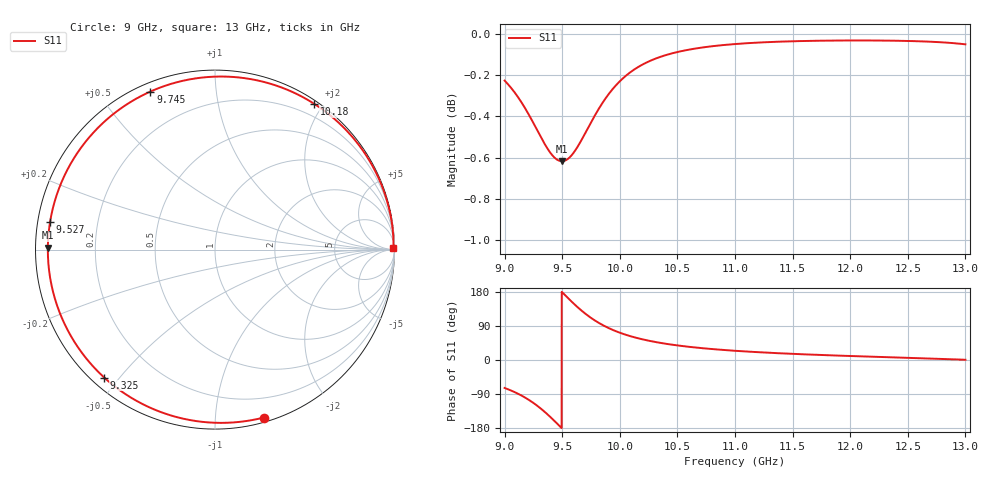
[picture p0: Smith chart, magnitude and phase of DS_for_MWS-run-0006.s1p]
! TOUCHSTONE file generated by CST DESIGN STUDIO
! Date and time: Tue Feb  4 13:27:55 2025
! Project name: C:\Work\MatlabApps\UnitCellOptimizationMatlab\CST\unitcell.cst
! Tree item: Tasks\Sweep1\SPara1\S-Parameters
! Header version: 2024
! Port assignment regex: !\s*Touchstone port\s*([0-9]+)\s*=\s*(CST MWS port|CST DES external port|CST DES block port)\s*(.+)\s* \(\"(.*)\"\)(\s*mode\s*([0-9]+))?.*
! Touchstone port assignment:
! Touchstone port 1 = CST DES external port 1 ("")
# GHz S MA R 50
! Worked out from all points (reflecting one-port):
!   4001 points, 9 GHz to 13 GHz, reference 50 ohm
!   lowest |S11| = -0.6 dB at 9.498 GHz (marker M1), VSWR 28.14, Z = 1.78 + j0.295 ohm
!   phase of S11 starts at -74 deg and turns -286 deg over the sweep
!   S11 on the Smith chart (normalised r, x): 9 GHz: 0.04, -1.33; 9.325 GHz: 0.04, -0.46; 9.527 GHz: 0.04, +0.08; 9.745 GHz: 0.04, +0.67; 10.18 GHz: 0.04, +1.89; 13 GHz: open
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9  0.9744 -73.8
9.086  0.968 -84.6
9.188  0.9583 -101.0
9.259  0.9504 -115.3
9.325  0.9429 -130.9
9.371  0.9381 -143.1
9.42  0.9341 -157.1
9.46  0.932 -169.1
9.498  0.9314 179.3
9.5  0.9314 178.7
9.527  0.9318 170.4
9.58  0.9344 154.5
9.64  0.9396 137.6
9.692  0.9452 124.3
9.745  0.9513 112.2
9.797  0.957 101.8
9.854  0.9627 91.8
10  0.974 72.0
10.086  0.9787 63.4
10.18  0.9826 55.7
10.326  0.9868 46.6
10.5  0.9901 38.5
10.722  0.9926 31.0
11  0.9945 24.3
11.5  0.996 16.2
12  0.9965 10.5
12.5  0.9962 5.7
13  0.9943 0.6
